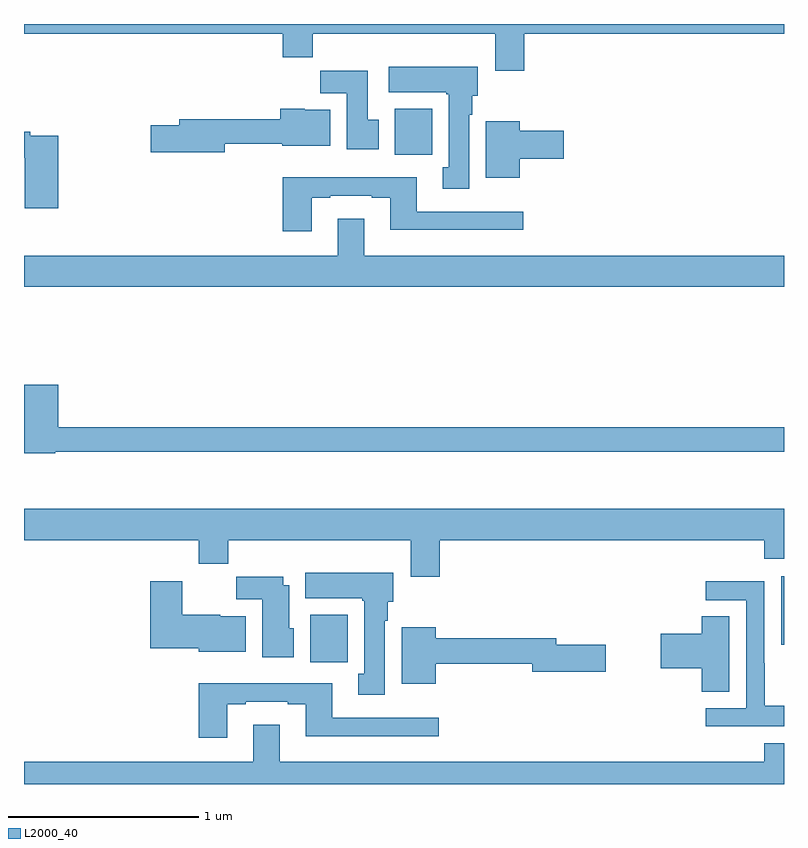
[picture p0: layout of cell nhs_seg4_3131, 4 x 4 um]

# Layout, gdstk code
import gdstk
lib = gdstk.Library(unit=1e-6, precision=1e-09)
def R(c, l, rs):  # rectangles x0, y0, x1, y1
    for r in rs: c.add(gdstk.rectangle(r[:2], r[2:], *l))
def P(c, l, *ps):  # polygons
    for p in ps: c.add(gdstk.Polygon(p, *l))
L2000_40 = (2000, 40)

nhs_seg4_3131 = lib.new_cell('nhs_seg4_3131')
R(nhs_seg4_3131, L2000_40, [(278.507,765.54,278.703,765.79), (280.985,765.633,281,765.994), (278.951,768.212,279.148,768.454)])
P(nhs_seg4_3131, L2000_40, [(279.632,768.848),(281,768.848),(281,768.9),(277,768.9),(277,768.848),(278.363,768.848),(278.363,768.724),(278.519,768.724),(278.519,768.848),(279.479,768.848),(279.479,768.654),(279.632,768.654)],
  [(279.343,768.422),(279.358,768.422),(279.358,768.522),(279.388,768.522),(279.388,768.676),(278.919,768.676),(278.919,768.542),(279.223,768.542),(279.223,768.529),(279.236,768.529),(279.236,768.146),(279.203,768.146),(279.203,768.033),(279.343,768.033)],
  [(278.866,768.396),(278.809,768.396),(278.809,768.655),(278.56,768.655),(278.56,768.536),(278.699,768.536),(278.699,768.24),(278.866,768.24)],
  [(278.056,768.271),(278.36,768.271),(278.36,768.26),(278.611,768.26),(278.611,768.448),(278.478,768.448),(278.478,768.454),(278.348,768.454),(278.348,768.4),(277.817,768.4),(277.817,768.366),(277.668,768.366),(277.668,768.224),(278.056,768.224)],
  [(279.61,768.191),(279.841,768.191),(279.841,768.338),(279.61,768.338),(279.61,768.388),(279.431,768.388),(279.431,768.092),(279.61,768.092)],
  [(277.181,768.312),(277.034,768.312),(277.034,768.332),(277,768.332),(277,768.196),(277.003,768.196),(277.003,767.931),(277.181,767.931)],
  [(278.515,767.985),(278.611,767.985),(278.611,767.997),(278.831,767.997),(278.831,767.985),(278.927,767.985),(278.927,767.816),(279.628,767.816),(279.628,767.913),(279.067,767.913),(279.067,768.094),(278.363,768.094),(278.363,767.808),(278.515,767.808)],
  [(281,767.68),(278.791,767.68),(278.791,767.875),(278.651,767.875),(278.651,767.68),(277,767.68),(277,767.516),(281,767.516)],
  [(277.164,766.65),(281,766.65),(281,766.778),(277.181,766.778),(277.181,767.002),(277,767.002),(277,766.642),(277.164,766.642)],
  [(279.188,766.184),(280.895,766.184),(280.895,766.085),(281,766.085),(281,766.348),(277,766.348),(277,766.184),(277.919,766.184),(277.919,766.06),(278.075,766.06),(278.075,766.184),(279.035,766.184),(279.035,765.99),(279.188,765.99)],
  [(278.899,765.758),(278.914,765.758),(278.914,765.858),(278.944,765.858),(278.944,766.012),(278.48,766.012),(278.48,765.878),(278.779,765.878),(278.779,765.865),(278.792,765.865),(278.792,765.481),(278.759,765.481),(278.759,765.369),(278.899,765.369)],
  [(278.419,765.72),(278.395,765.72),(278.395,765.946),(278.365,765.946),(278.365,765.991),(278.116,765.991),(278.116,765.872),(278.255,765.872),(278.255,765.566),(278.419,765.566)],
  [(278.167,765.784),(278.034,765.784),(278.034,765.79),(277.834,765.79),(277.834,765.967),(277.664,765.967),(277.664,765.614),(277.92,765.614),(277.92,765.596),(278.167,765.596)],
  [(281,765.313),(280.899,765.313),(280.899,765.536),(280.896,765.536),(280.896,765.966),(280.587,765.966),(280.587,765.867),(280.8,765.867),(280.8,765.3),(280.587,765.3),(280.587,765.204),(281,765.204)],
  [(280.711,765.782),(280.568,765.782),(280.568,765.692),(280.35,765.692),(280.35,765.509),(280.568,765.509),(280.568,765.385),(280.711,765.385)],
  [(279.166,765.532),(279.674,765.532),(279.674,765.49),(280.063,765.49),(280.063,765.632),(279.802,765.632),(279.802,765.668),(279.166,765.668),(279.166,765.724),(278.987,765.724),(278.987,765.428),(279.166,765.428)],
  [(278.071,765.321),(278.167,765.321),(278.167,765.333),(278.387,765.333),(278.387,765.321),(278.483,765.321),(278.483,765.152),(279.184,765.152),(279.184,765.249),(278.623,765.249),(278.623,765.43),(277.919,765.43),(277.919,765.144),(278.071,765.144)],
  [(281,765.115),(280.895,765.115),(280.895,765.016),(278.347,765.016),(278.347,765.211),(278.207,765.211),(278.207,765.016),(277,765.016),(277,764.9),(281,764.9)])

lib.write_gds('nhs_seg4_3131.gds')
